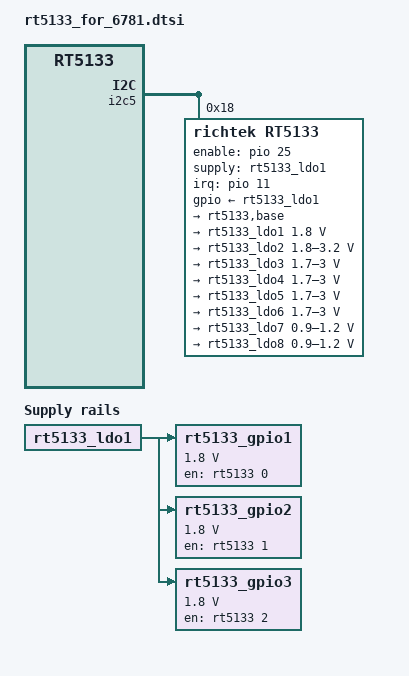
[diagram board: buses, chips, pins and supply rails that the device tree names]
/* SPDX-License-Identifier: GPL-2.0 */
/*
 * Copyright (c) 2021 MediaTek Inc.
*/

&odm {
	rt5133_eint:rt5133_eint {
	};

	rt5133_gpio1: rt5133-gpio1 {
		compatible = "regulator-fixed";
		regulator-name = "rt5133-gpio1";
		regulator-min-microvolt = <1800000>;
		regulator-max-microvolt = <1800000>;
		vin-supply = <&rt5133_ldo1>;
		enable-active-high;
		gpio = <&rt5133 0 0x0>;
	};

	rt5133_gpio2: rt5133-gpio2 {
		compatible = "regulator-fixed";
		regulator-name = "rt5133-gpio2";
		regulator-min-microvolt = <1800000>;
		regulator-max-microvolt = <1800000>;
		vin-supply = <&rt5133_ldo1>;
		enable-active-high;
		gpio = <&rt5133 1 0x0>;
	};

	rt5133_gpio3: rt5133-gpio3 {
		compatible = "regulator-fixed";
		regulator-name = "rt5133-gpio3";
		regulator-min-microvolt = <1800000>;
		regulator-max-microvolt = <1800000>;
		vin-supply = <&rt5133_ldo1>;
		enable-active-high;
		gpio = <&rt5133 2 0x0>;
	};
};



&i2c5 {
	rt5133: rt5133@18 {
		status = "ok";
		compatible = "richtek,rt5133";
		reg = <0x18>;
		wakeup-source;
		interrupts-extended = <&pio 11 0x0>;
		enable-gpio = <&pio 25 0x0>;
		gpio-supply = <&rt5133_ldo1>;
		gpio-controller;
		#gpio-cells = <2>;
		regulator_nb = "rt5133-ldo1", "rt5133-ldo2",
				"rt5133-ldo3", "rt5133-ldo4",
				"rt5133-ldo5", "rt5133-ldo6",
				"rt5133-ldo7", "rt5133-ldo8";
		regulators {
			BASE {
				regulator-name = "rt5133,base";
				oc_shutdown_all = <0>;
				pgb_shutdown_all = <0>;
			};
			rt5133_ldo1: LDO1 {
				regulator-name = "rt5133-ldo1";
				regulator-min-microvolt = <1800000>;
				regulator-max-microvolt = <1800000>;
				regulator-active-discharge;
				oc_ptsel = <1>;
				pgb_ptsel = <1>;
				soft_start_time_sel = <1>;
			};
			rt5133_ldo2: LDO2 {
				regulator-name = "rt5133-ldo2";
				regulator-min-microvolt = <1800000>;
				regulator-max-microvolt = <3200000>;
				regulator-active-discharge;
				oc_ptsel = <1>;
				pgb_ptsel = <1>;
				soft_start_time_sel = <1>;
			};
			rt5133_ldo3: LDO3 {
				regulator-name = "rt5133-ldo3";
				regulator-min-microvolt = <1700000>;
				regulator-max-microvolt = <3000000>;
				regulator-active-discharge;
				oc_ptsel = <1>;
				pgb_ptsel = <1>;
				soft_start_time_sel = <1>;
			};
			rt5133_ldo4: LDO4 {
				regulator-name = "rt5133-ldo4";
				regulator-min-microvolt = <1700000>;
				regulator-max-microvolt = <3000000>;
				regulator-active-discharge;
				oc_ptsel = <1>;
				pgb_ptsel = <1>;
				soft_start_time_sel = <1>;
			};
			rt5133_ldo5: LDO5 {
				regulator-name = "rt5133-ldo5";
				regulator-min-microvolt = <1700000>;
				regulator-max-microvolt = <3000000>;
				regulator-active-discharge;
				oc_ptsel = <1>;
				pgb_ptsel = <1>;
				soft_start_time_sel = <1>;
			};
			rt5133_ldo6: LDO6 {
				regulator-name = "rt5133-ldo6";
				regulator-min-microvolt = <1700000>;
				regulator-max-microvolt = <3000000>;
				regulator-active-discharge;
				oc_ptsel = <1>;
				pgb_ptsel = <1>;
				soft_start_time_sel = <1>;
			};
			rt5133_ldo7: LDO7 {
				regulator-name = "rt5133-ldo7";
				regulator-min-microvolt = <900000>;
				regulator-max-microvolt = <1200000>;
				regulator-active-discharge;
				oc_ptsel = <1>;
				pgb_ptsel = <1>;
				soft_start_time_sel = <1>;
			};
			rt5133_ldo8: LDO8 {
				regulator-name = "rt5133-ldo8";
				regulator-min-microvolt = <900000>;
				regulator-max-microvolt = <1200000>;
				regulator-active-discharge;
				oc_ptsel = <1>;
				pgb_ptsel = <1>;
				soft_start_time_sel = <1>;
			};
		};

	};
};
